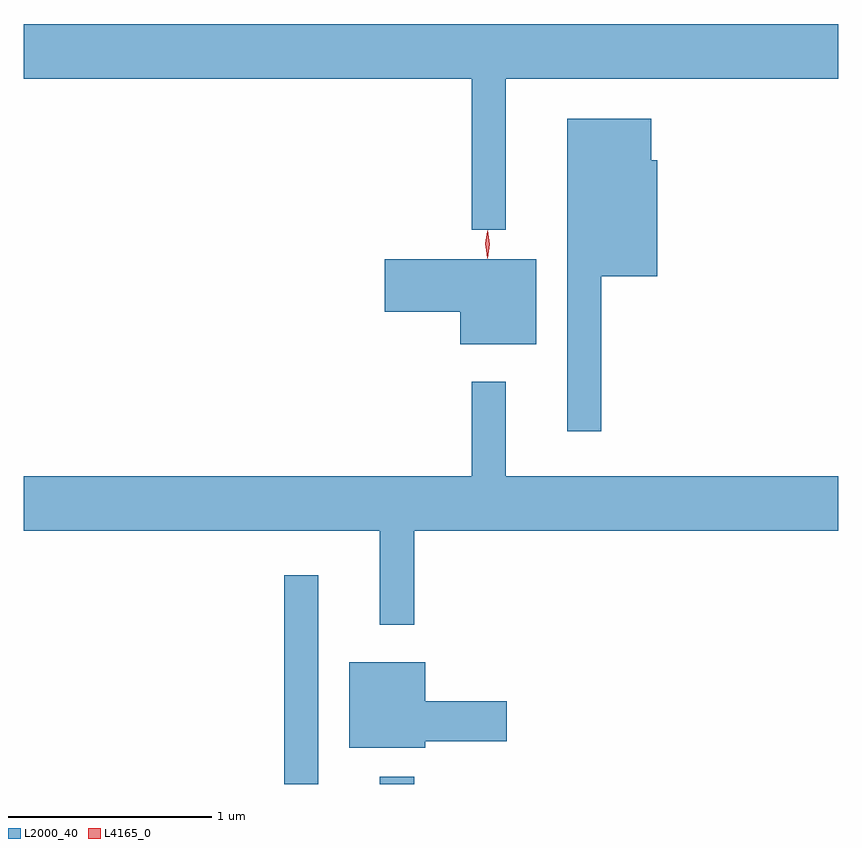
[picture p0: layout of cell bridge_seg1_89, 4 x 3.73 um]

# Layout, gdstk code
import gdstk
lib = gdstk.Library(unit=1e-6, precision=1e-09)
def R(c, l, rs):  # rectangles x0, y0, x1, y1
    for r in rs: c.add(gdstk.rectangle(r[:2], r[2:], *l))
def P(c, l, *ps):  # polygons
    for p in ps: c.add(gdstk.Polygon(p, *l))
L2000_40 = (2000, 40)
L4165_0 = (4165, 0)

bridge_seg1_89 = lib.new_cell('bridge_seg1_89')
R(bridge_seg1_89, L2000_40, [(1262.641,853.932,1262.809,854.958), (1263.111,853.932,1263.279,853.968)])
P(bridge_seg1_89, L2000_40, [(1263.729,857.396),(1265.362,857.396),(1265.362,857.664),(1261.362,857.664),(1261.362,857.396),(1263.561,857.396),(1263.561,856.653),(1263.729,856.653)],
  [(1264.199,856.426),(1264.474,856.426),(1264.474,856.994),(1264.444,856.994),(1264.444,857.199),(1264.031,857.199),(1264.031,855.663),(1264.199,855.663)],
  [(1263.879,856.509),(1263.136,856.509),(1263.136,856.251),(1263.506,856.251),(1263.506,856.091),(1263.879,856.091)],
  [(1263.279,855.176),(1265.362,855.176),(1265.362,855.444),(1263.729,855.444),(1263.729,855.908),(1263.561,855.908),(1263.561,855.444),(1261.362,855.444),(1261.362,855.176),(1263.111,855.176),(1263.111,854.713),(1263.279,854.713)],
  [(1263.334,854.141),(1263.734,854.141),(1263.734,854.339),(1263.334,854.339),(1263.334,854.529),(1262.961,854.529),(1262.961,854.111),(1263.334,854.111)])
P(bridge_seg1_89, L4165_0, [(1263.639,856.514),(1263.639,856.514),(1263.63,856.582),(1263.64,856.65),(1263.641,856.65),(1263.641,856.65),(1263.65,856.582),(1263.64,856.514)],
  [(1263.638,856.52),(1263.638,856.52),(1263.628,856.584),(1263.638,856.646),(1263.638,856.647),(1263.638,856.646),(1263.648,856.584),(1263.638,856.52)])

lib.write_gds('bridge_seg1_89.gds')
